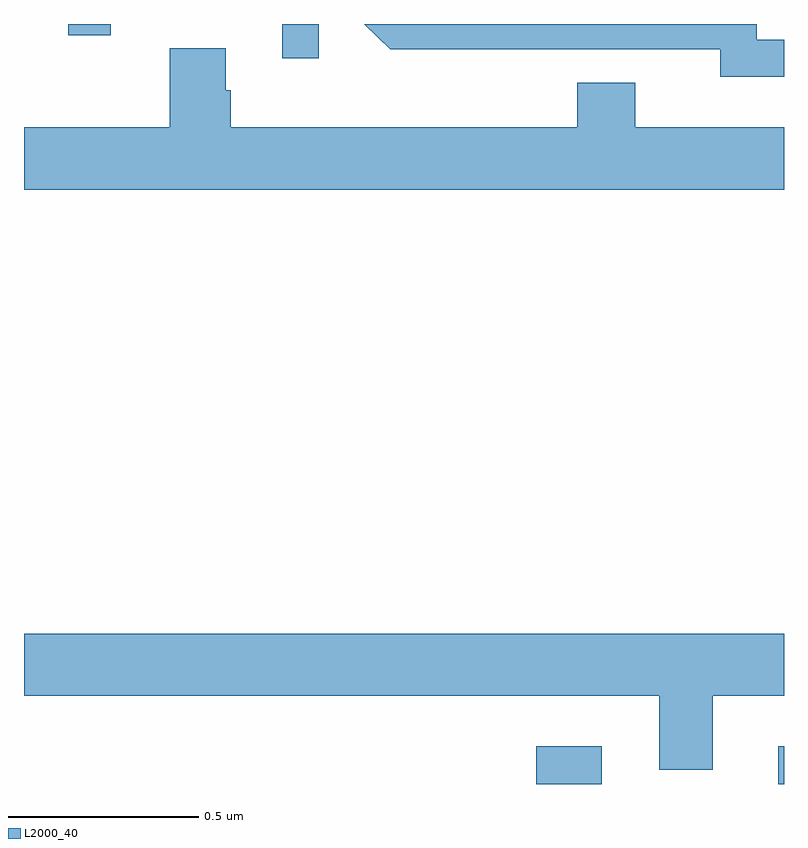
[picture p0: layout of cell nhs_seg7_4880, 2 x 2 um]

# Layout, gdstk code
import gdstk
lib = gdstk.Library(unit=1e-6, precision=1e-09)
def R(c, l, rs):  # rectangles x0, y0, x1, y1
    for r in rs: c.add(gdstk.rectangle(r[:2], r[2:], *l))
def P(c, l, *ps):  # polygons
    for p in ps: c.add(gdstk.Polygon(p, *l))
L2000_40 = (2000, 40)

nhs_seg7_4880 = lib.new_cell('nhs_seg7_4880')
R(nhs_seg7_4880, L2000_40, [(179.348,1051,179.521,1051.099), (179.985,1051,180,1051.099), (178.679,1052.91,178.776,1053), (178.117,1052.97,178.228,1053)])
P(nhs_seg7_4880, L2000_40, [(180,1052.958),(179.928,1052.958),(179.928,1053),(178.896,1053),(178.964,1052.933),(179.372,1052.933),(179.372,1052.934),(179.832,1052.934),(179.832,1052.861),(180,1052.861)],
  [(180,1052.728),(179.608,1052.728),(179.608,1052.845),(179.456,1052.845),(179.456,1052.728),(178.544,1052.728),(178.544,1052.826),(178.531,1052.826),(178.531,1052.936),(178.384,1052.936),(178.384,1052.728),(178,1052.728),(178,1052.564),(180,1052.564)],
  [(179.812,1051.232),(180,1051.232),(180,1051.396),(178,1051.396),(178,1051.232),(179.672,1051.232),(179.672,1051.038),(179.812,1051.038)])

lib.write_gds('nhs_seg7_4880.gds')
